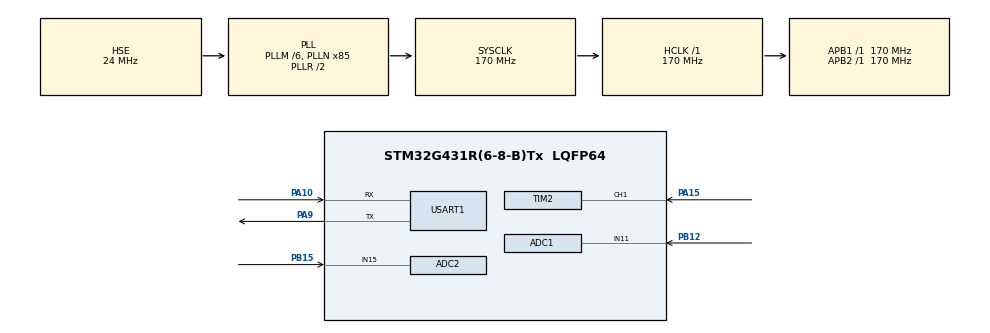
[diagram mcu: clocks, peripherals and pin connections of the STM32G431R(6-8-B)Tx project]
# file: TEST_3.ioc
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ADC1.Channel-0\#ChannelRegularConversion=ADC_CHANNEL_11
ADC1.NbrOfConversionFlag=1
ADC1.OffsetNumber-0\#ChannelRegularConversion=ADC_OFFSET_NONE
ADC1.Rank-0\#ChannelRegularConversion=1
ADC1.SamplingTime-0\#ChannelRegularConversion=ADC_SAMPLETIME_2CYCLES_5
ADC1.master=1
ADC2.Channel-0\#ChannelRegularConversion=ADC_CHANNEL_15
ADC2.NbrOfConversionFlag=1
ADC2.OffsetNumber-0\#ChannelRegularConversion=ADC_OFFSET_NONE
ADC2.Rank-0\#ChannelRegularConversion=1
ADC2.SamplingTime-0\#ChannelRegularConversion=ADC_SAMPLETIME_2CYCLES_5
Mcu.Family=STM32G4
Mcu.Name=STM32G431R(6-8-B)Tx
Mcu.Package=LQFP64
NVIC.PriorityGroup=NVIC_PRIORITYGROUP_4
NVIC.TIM2_IRQn=true\:0\:0\:false\:false\:true\:true\:true\:true
PA10.Mode=Asynchronous
PA10.Signal=USART1_RX
PA13.Mode=Serial_Wire
PA13.Signal=SYS_JTMS-SWDIO
PA14.Mode=Serial_Wire
PA14.Signal=SYS_JTCK-SWCLK
PA15.Signal=S_TIM2_CH1
PA9.Mode=Asynchronous
PA9.Signal=USART1_TX
PB12.Mode=IN11-Single-Ended
PB12.Signal=ADC1_IN11
PB15.Mode=IN15-Single-Ended
PB15.Signal=ADC2_IN15
PB4.Signal=S_TIM3_CH1
PF0-OSC_IN.Mode=HSE-External-Oscillator
PF0-OSC_IN.Signal=RCC_OSC_IN
PF1-OSC_OUT.Mode=HSE-External-Oscillator
PF1-OSC_OUT.Signal=RCC_OSC_OUT
ProjectManager.HeapSize=0x200
ProjectManager.StackSize=0x400
ProjectManager.TargetToolchain=MDK-ARM V5.32
RCC.ADC12Freq_Value=170000000
RCC.AHBFreq_Value=170000000
RCC.APB1Freq_Value=170000000
RCC.APB1TimFreq_Value=170000000
RCC.APB2Freq_Value=170000000
RCC.APB2TimFreq_Value=170000000
RCC.CortexFreq_Value=170000000
RCC.EXTERNAL_CLOCK_VALUE=12288000
RCC.HCLKFreq_Value=170000000
RCC.HSE_VALUE=24000000
RCC.HSI48_VALUE=48000000
RCC.HSI_VALUE=16000000
RCC.LSE_VALUE=32768
RCC.PLLM=RCC_PLLM_DIV6
RCC.PLLN=85
RCC.PLLSourceVirtual=RCC_PLLSOURCE_HSE
RCC.SYSCLKFreq_VALUE=170000000
RCC.SYSCLKSource=RCC_SYSCLKSOURCE_PLLCLK
RCC.USBFreq_Value=170000000
RCC.VCOOutputFreq_Value=340000000
SH.S_TIM2_CH1.0=TIM2_CH1,Input_Capture1_from_TI1
SH.S_TIM3_CH1.0=TIM3_CH1
TIM2.AutoReloadPreload=TIM_AUTORELOAD_PRELOAD_ENABLE
TIM2.Channel-Input_Capture1_from_TI1=TIM_CHANNEL_1
TIM2.PeriodNoDither=0xffffffff
TIM2.Prescaler=170-1
USART1.VirtualMode-Asynchronous=VM_ASYNC
VP_SYS_VS_DBSignals.Mode=DisableDeadBatterySignals
board=custom

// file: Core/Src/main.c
/* USER CODE BEGIN Header */
/**
  ******************************************************************************
  * @file           : main.c
  * @brief          : Main program body
  ******************************************************************************
  * @attention
  *
  * Copyright (c) 2022 STMicroelectronics.
  * All rights reserved.
  *
  * This software is licensed under terms that can be found in the LICENSE file
  * in the root directory of this software component.
  * If no LICENSE file comes with this software, it is provided AS-IS.
  *
  ******************************************************************************
  */
/* USER CODE END Header */
#include "main.h"
#include "adc.h"
#include "tim.h"
#include "usart.h"
#include "gpio.h"

/* USER CODE BEGIN PV */
extern uint32_t ic_count,ic_sum,Fre;
extern uint8_t ic_flag,IC_Final,Fre_flag;
uint32_t ic_count = 0,ic_sum = 0,Fre = 0;
uint8_t ic_flag = 0,IC_Final = 0,Fre_flag = 0;
/* USER CODE END PV */

void SystemClock_Config(void);

int main(void)
{
  /* USER CODE BEGIN 1 */
	uint32_t temp;
  /* USER CODE END 1 */

  /* MCU Configuration--------------------------------------------------------*/

  /* Reset of all peripherals, Initializes the Flash interface and the Systick. */
  HAL_Init();

  /* Configure the system clock */
  SystemClock_Config();

  /* Initialize all configured peripherals */
  MX_GPIO_Init();
  MX_ADC1_Init();
  MX_ADC2_Init();
  MX_USART1_UART_Init();
  MX_TIM2_Init();
  /* USER CODE BEGIN 2 */
	HAL_ADC_Start(&hadc1);
	HAL_ADC_Start(&hadc2);

	HAL_TIM_IC_Start_IT(&htim2,TIM_CHANNEL_1);
  /* USER CODE END 2 */

  /* Infinite loop */
  /* USER CODE BEGIN WHILE */
  while (1)
  {
//		HAL_ADC_Start(&hadc1);
//		HAL_ADC_Start(&hadc2);
//		printf("%d,%d\n\r",HAL_ADC_GetValue(&hadc1),HAL_ADC_GetValue(&hadc2));
		if(IC_Final == 1)
		{
			temp = ic_sum*(0xffffffff+1);
			temp = temp + ic_count;
//			printf("DUTY:%d\r\n",temp);
			IC_Final = 0;
			ic_flag = 0;
		}
		if(Fre_flag == 2)
		{
			Fre_flag = 0;
			printf("FRE:%d\r\n",Fre);
		}
//		printf("\r\n\r\n");
    /* USER CODE END WHILE */

  }
}

void SystemClock_Config(void)
{
  RCC_OscInitTypeDef RCC_OscInitStruct = {0};
  RCC_ClkInitTypeDef RCC_ClkInitStruct = {0};

  /** Configure the main internal regulator output voltage
  */
  HAL_PWREx_ControlVoltageScaling(PWR_REGULATOR_VOLTAGE_SCALE1_BOOST);

  /** Initializes the RCC Oscillators according to the specified parameters
  * in the RCC_OscInitTypeDef structure.
  */
  RCC_OscInitStruct.OscillatorType = RCC_OSCILLATORTYPE_HSE;
  RCC_OscInitStruct.HSEState = RCC_HSE_ON;
  RCC_OscInitStruct.PLL.PLLState = RCC_PLL_ON;
  RCC_OscInitStruct.PLL.PLLSource = RCC_PLLSOURCE_HSE;
  RCC_OscInitStruct.PLL.PLLM = RCC_PLLM_DIV6;
  RCC_OscInitStruct.PLL.PLLN = 85;
  RCC_OscInitStruct.PLL.PLLP = RCC_PLLP_DIV2;
  RCC_OscInitStruct.PLL.PLLQ = RCC_PLLQ_DIV2;
  RCC_OscInitStruct.PLL.PLLR = RCC_PLLR_DIV2;
  if (HAL_RCC_OscConfig(&RCC_OscInitStruct) != HAL_OK)
  {
    Error_Handler();
  }

  /** Initializes the CPU, AHB and APB buses clocks
  */
  RCC_ClkInitStruct.ClockType = RCC_CLOCKTYPE_HCLK|RCC_CLOCKTYPE_SYSCLK
                              |RCC_CLOCKTYPE_PCLK1|RCC_CLOCKTYPE_PCLK2;
  RCC_ClkInitStruct.SYSCLKSource = RCC_SYSCLKSOURCE_PLLCLK;
  RCC_ClkInitStruct.AHBCLKDivider = RCC_SYSCLK_DIV1;
  RCC_ClkInitStruct.APB1CLKDivider = RCC_HCLK_DIV1;
  RCC_ClkInitStruct.APB2CLKDivider = RCC_HCLK_DIV1;

  if (HAL_RCC_ClockConfig(&RCC_ClkInitStruct, FLASH_LATENCY_4) != HAL_OK)
  {
    Error_Handler();
  }
}

/* USER CODE BEGIN 4 */
void HAL_TIM_IC_CaptureCallback(TIM_HandleTypeDef *htim)
{
	if(htim->Instance == TIM2)
	{
		if(ic_flag == 1)
		{
			ic_count =  HAL_TIM_ReadCapturedValue(&htim2,TIM_CHANNEL_1);
			TIM_RESET_CAPTUREPOLARITY(&htim2,TIM_CHANNEL_1);//清除上一次设置的极性
			TIM_SET_CAPTUREPOLARITY(&htim2,TIM_CHANNEL_1,TIM_INPUTCHANNELPOLARITY_RISING);//设置为下降沿
			IC_Final = 1;
		}
		if(ic_flag == 0)
		{
			Fre_flag++;
			ic_flag = 1;
			ic_sum = 0;
			__HAL_TIM_DISABLE(&htim2);
			Fre = __HAL_TIM_GET_COUNTER(&htim2);
			__HAL_TIM_SET_COUNTER(&htim2,0);//清除上一次计数器的值
			TIM_RESET_CAPTUREPOLARITY(&htim2,TIM_CHANNEL_1);//清除上一次设置的极性
			TIM_SET_CAPTUREPOLARITY(&htim2,TIM_CHANNEL_1,TIM_INPUTCHANNELPOLARITY_FALLING);//设置为下降沿
			__HAL_TIM_ENABLE(&htim2);//开启定时器
		}
	}
}

void HAL_TIM_PeriodElapsedCallback(TIM_HandleTypeDef *htim)
{
	if(htim->Instance == TIM2)
	{
		ic_sum++;
	}
}

int fputc(int ch,FILE *f)
{
	while((USART1->ISR&0x40) == 0);
	USART1->TDR = (uint8_t)ch;
	return ch;
}
/* USER CODE END 4 */

void Error_Handler(void)
{
  __disable_irq();
  while (1)
  {
  }
}
